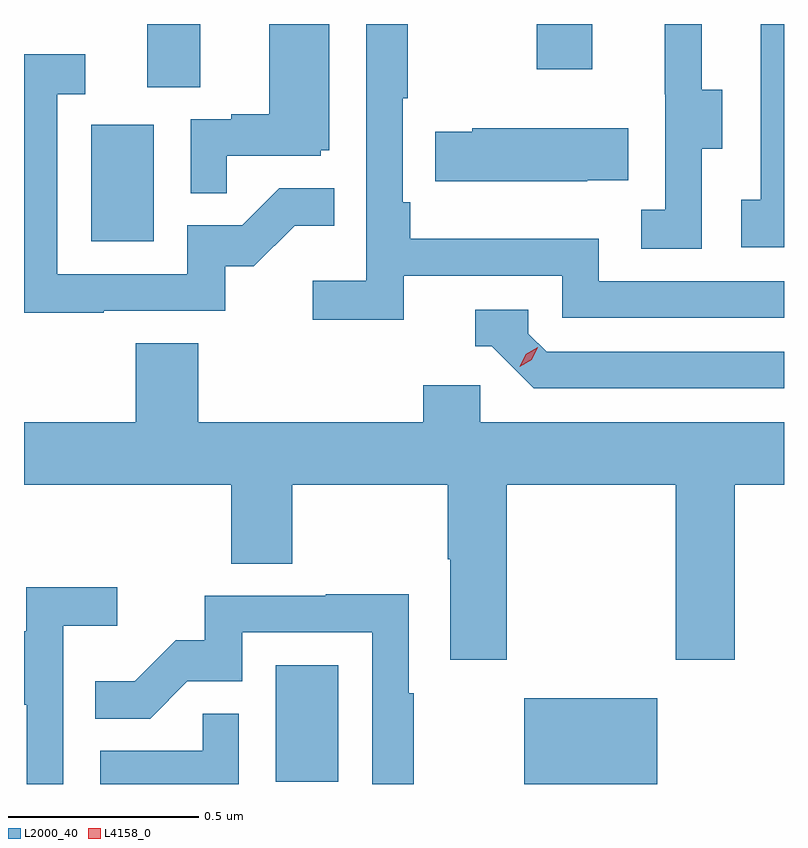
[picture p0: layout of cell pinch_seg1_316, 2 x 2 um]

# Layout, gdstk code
import gdstk
lib = gdstk.Library(unit=1e-6, precision=1e-09)
def R(c, l, rs):  # rectangles x0, y0, x1, y1
    for r in rs: c.add(gdstk.rectangle(r[:2], r[2:], *l))
def P(c, l, *ps):  # polygons
    for p in ps: c.add(gdstk.Polygon(p, *l))
L2000_40 = (2000, 40)
L4158_0 = (4158, 0)

pinch_seg1_316 = lib.new_cell('pinch_seg1_316')
R(pinch_seg1_316, L2000_40, [(913.934,556.272,914.284,556.498), (913.28,556.278,913.444,556.585), (912.794,557.7,912.958,558.007), (912.941,558.106,913.081,558.272), (913.966,558.153,914.113,558.272)])
P(pinch_seg1_316, L2000_40, [(914.4,557.944),(914.455,557.944),(914.455,558.099),(914.401,558.099),(914.401,558.272),(914.303,558.272),(914.303,558.087),(914.304,558.087),(914.304,557.783),(914.241,557.783),(914.241,557.68),(914.4,557.68)],
  [(914.617,558.272),(914.556,558.272),(914.556,557.81),(914.505,557.81),(914.505,557.685),(914.617,557.685)],
  [(913.151,557.925),(913.398,557.925),(913.398,557.94),(913.42,557.94),(913.42,558.272),(913.262,558.272),(913.262,558.034),(913.163,558.034),(913.163,558.021),(913.056,558.021),(913.056,557.827),(913.151,557.827)],
  [(913.616,557.61),(914.034,557.61),(914.034,557.499),(914.617,557.499),(914.617,557.595),(914.13,557.595),(914.13,557.707),(913.634,557.707),(913.634,557.803),(913.614,557.803),(913.614,558.076),(913.627,558.076),(913.627,558.272),(913.518,558.272),(913.518,557.596),(913.377,557.596),(913.377,557.494),(913.616,557.494)],
  [(912.827,557.517),(913.146,557.517),(913.146,557.634),(913.222,557.634),(913.329,557.741),(913.433,557.741),(913.433,557.84),(913.289,557.84),(913.191,557.742),(913.047,557.742),(913.047,557.613),(912.705,557.613),(912.705,558.087),(912.778,558.087),(912.778,558.193),(912.617,558.193),(912.617,557.512),(912.827,557.512)],
  [(914.099,557.861),(914.207,557.861),(914.207,557.998),(913.797,557.998),(913.797,557.988),(913.699,557.988),(913.699,557.858),(914.099,557.858)],
  [(914.617,557.409),(913.992,557.409),(913.944,557.457),(913.944,557.52),(913.805,557.52),(913.805,557.424),(913.848,557.424),(913.959,557.313),(914.617,557.313)],
  [(913.887,557.06),(914.332,557.06),(914.332,556.599),(914.487,556.599),(914.487,557.06),(914.617,557.06),(914.617,557.224),(913.818,557.224),(913.818,557.322),(913.667,557.322),(913.667,557.224),(913.076,557.224),(913.076,557.432),(912.911,557.432),(912.911,557.224),(912.617,557.224),(912.617,557.06),(913.163,557.06),(913.163,556.852),(913.323,556.852),(913.323,557.06),(913.732,557.06),(913.732,556.864),(913.739,556.864),(913.739,556.599),(913.887,556.599)],
  [(912.72,556.688),(912.862,556.688),(912.862,556.79),(912.623,556.79),(912.623,556.674),(912.617,556.674),(912.617,556.481),(912.624,556.481),(912.624,556.272),(912.72,556.272)],
  [(913.642,556.511),(913.629,556.511),(913.629,556.772),(913.411,556.772),(913.411,556.767),(913.093,556.767),(913.093,556.65),(913.016,556.65),(912.909,556.543),(912.805,556.543),(912.805,556.444),(912.949,556.444),(913.047,556.542),(913.191,556.542),(913.191,556.671),(913.533,556.671),(913.533,556.272),(913.642,556.272)],
  [(913.182,556.457),(913.087,556.457),(913.087,556.359),(912.818,556.359),(912.818,556.272),(913.182,556.272)])
P(pinch_seg1_316, L4158_0, [(913.922,557.37),(913.922,557.37),(913.938,557.403),(913.969,557.422),(913.969,557.422),(913.969,557.422),(913.953,557.389),(913.922,557.37)])

lib.write_gds('pinch_seg1_316.gds')
